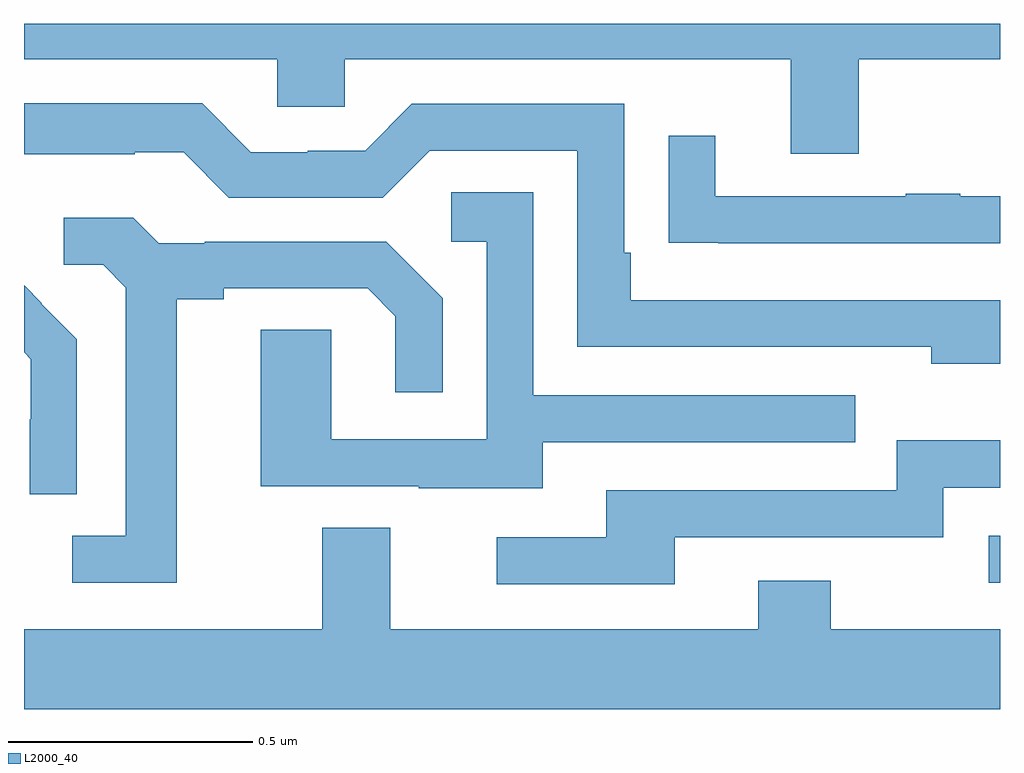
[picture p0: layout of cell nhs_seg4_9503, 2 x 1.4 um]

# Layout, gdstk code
import gdstk
lib = gdstk.Library(unit=1e-6, precision=1e-09)
def R(c, l, rs):  # rectangles x0, y0, x1, y1
    for r in rs: c.add(gdstk.rectangle(r[:2], r[2:], *l))
def P(c, l, *ps):  # polygons
    for p in ps: c.add(gdstk.Polygon(p, *l))
L2000_40 = (2000, 40)

nhs_seg4_9503 = lib.new_cell('nhs_seg4_9503')
R(nhs_seg4_9503, L2000_40, [(229.977,787.755,230,787.851)])
P(nhs_seg4_9503, L2000_40, [(229.711,788.828),(230,788.828),(230,788.9),(228,788.9),(228,788.828),(228.519,788.828),(228.519,788.73),(228.657,788.73),(228.657,788.828),(229.571,788.828),(229.571,788.634),(229.711,788.634)],
  [(230,788.334),(229.243,788.334),(229.243,788.431),(229.23,788.431),(229.23,788.736),(228.795,788.736),(228.699,788.64),(228.581,788.64),(228.581,788.637),(228.465,788.637),(228.365,788.737),(228,788.737),(228,788.633),(228.227,788.633),(228.227,788.637),(228.327,788.637),(228.42,788.544),(228.735,788.544),(228.831,788.64),(229.134,788.64),(229.134,788.238),(229.859,788.238),(229.859,788.204),(230,788.204)],
  [(230,788.547),(229.919,788.547),(229.919,788.552),(229.807,788.552),(229.807,788.547),(229.417,788.547),(229.417,788.671),(229.321,788.671),(229.321,788.452),(229.423,788.452),(229.423,788.451),(230,788.451)],
  [(229.063,788.043),(229.703,788.043),(229.703,788.139),(229.044,788.139),(229.044,788.555),(228.876,788.555),(228.876,788.454),(228.948,788.454),(228.948,788.049),(228.63,788.049),(228.63,788.273),(228.485,788.273),(228.485,787.953),(228.809,787.953),(228.809,787.949),(229.063,787.949)],
  [(228.313,788.336),(228.409,788.336),(228.409,788.358),(228.704,788.358),(228.761,788.301),(228.761,788.145),(228.858,788.145),(228.858,788.338),(228.742,788.454),(228.37,788.454),(228.37,788.451),(228.276,788.451),(228.224,788.503),(228.081,788.503),(228.081,788.406),(228.162,788.406),(228.209,788.359),(228.209,787.851),(228.099,787.851),(228.099,787.755),(228.313,787.755)],
  [(228.108,788.254),(228.035,788.327),(228.036,788.328),(228,788.364),(228,788.227),(228.014,788.213),(228.014,788.09),(228.012,788.09),(228.012,787.936),(228.108,787.936)],
  [(229.333,787.848),(229.884,787.848),(229.884,787.95),(230,787.95),(230,788.047),(229.788,788.047),(229.788,787.944),(229.193,787.944),(229.193,787.848),(228.969,787.848),(228.969,787.752),(229.333,787.752)],
  [(230,787.66),(229.653,787.66),(229.653,787.759),(229.505,787.759),(229.505,787.66),(228.751,787.66),(228.751,787.868),(228.611,787.868),(228.611,787.66),(228,787.66),(228,787.496),(230,787.496)])

lib.write_gds('nhs_seg4_9503.gds')
